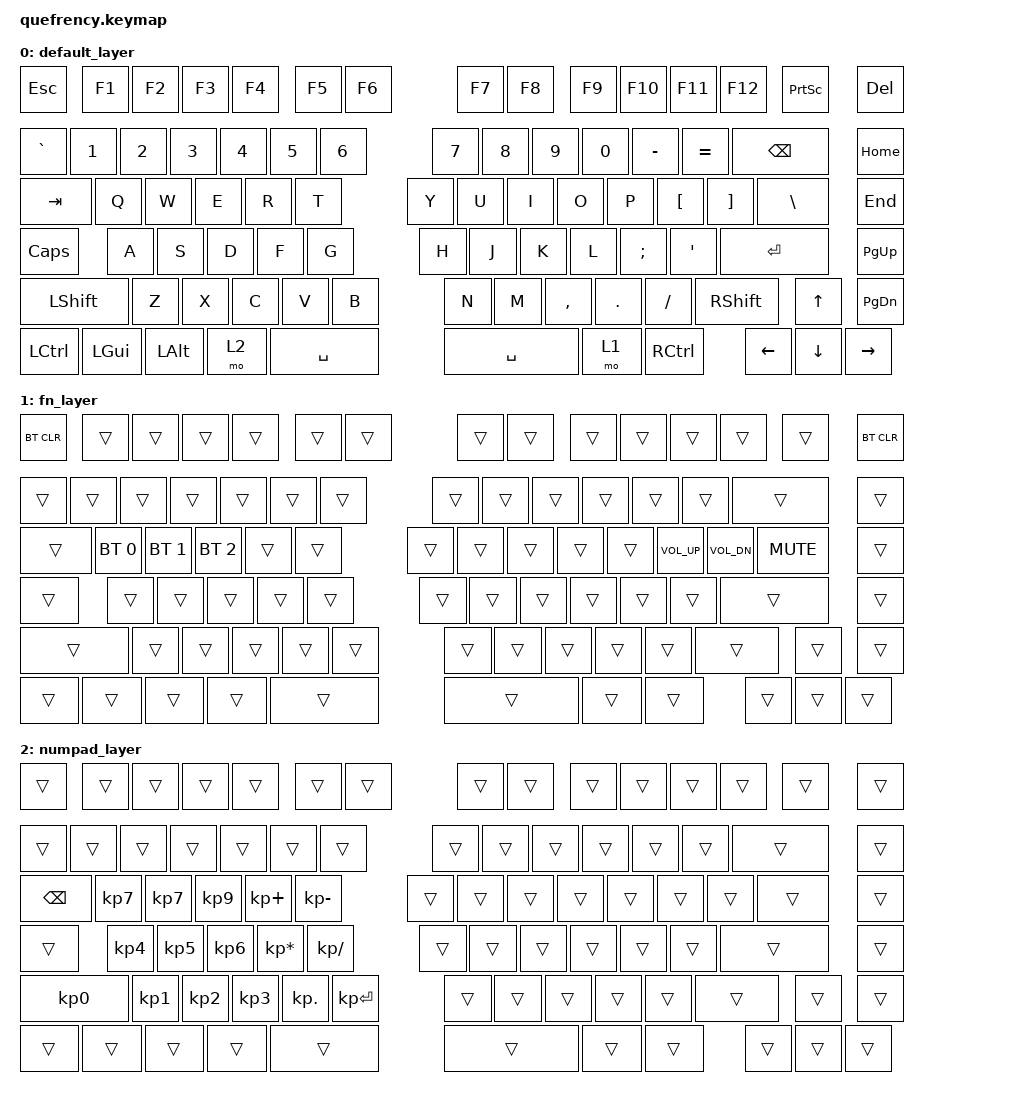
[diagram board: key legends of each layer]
#include <behaviors.dtsi>
#include <dt-bindings/zmk/bt.h>
#include <dt-bindings/zmk/keys.h>

/ {
    keymap {
        compatible = "zmk,keymap";

// --------------------------------------------------      ---------------------------------------------------------------
// |  ESC  |  F1  |  F2  |  F3  |  F4  |  F5  |  F6  |      |  F7  |  F8  |  F9  |  F10  |  F11  |  F12  |  F13  |  DEL  |
//
// |  `  |  1  |  2  |  3  |  4  |  5  |  6  |              |  7  |  8  |  9  |  0  |  -  |  =  |      BKSPC    |  HOME  |
// |  TAB  |  Q   |  W  |  E   |  R  |  T  |                |  Y  |  U  |  I  |  O  |  P  |  [  |  ]  |    \    |  END   |
// |  LCTRL  |  A  |  S  |  D  |  F  |  G  |                |  H  |  J  |  K  |  L  |  ;  |  '  |      ENTER    |  PGUP  |
// |  SHIFT  |  Z  |  X  |  C  |  V   |  B  |               |  N  |  M  |  ,  |  .  |  /  |  RSHFT  |     UP    |  PGDN  |
// |  LCTRL  |  LGUI  |  LALT  |  FN  |   SPACE   |         |    SPACE    |  FN  |  RCTRL  |    |  LFT  |  DWN  |  RGHT  |
// ------------------------------------------------         --------------------------------------------------------------

        default_layer {
            bindings = <
    &kp ESC     &kp F1     &kp F2     &kp F3   &kp F4   &kp F5   &kp F6  /**/  &kp F7   &kp F8   &kp F9      &kp F10   &kp F11     &kp F12     &kp PSCRN   &kp DEL
    &kp GRAVE   &kp N1     &kp N2     &kp N3   &kp N4   &kp N5   &kp N6  /**/  &kp N7   &kp N8   &kp N9      &kp N0    &kp MINUS   &kp EQUAL   &kp BSPC    &kp HOME
    &kp TAB     &kp Q      &kp W      &kp E    &kp R    &kp T            /**/  &kp Y    &kp U    &kp I       &kp O     &kp P       &kp LBKT    &kp RBKT    &kp BSLH    &kp END
    &kp CAPS    &kp A      &kp S      &kp D    &kp F    &kp G            /**/  &kp H    &kp J    &kp K       &kp L     &kp SEMI    &kp SQT     &kp ENTER   &kp PG_UP
    &kp LSHFT   &kp Z      &kp X      &kp C    &kp V    &kp B            /**/  &kp N    &kp M    &kp COMMA   &kp DOT   &kp FSLH    &kp RSHFT   &kp UP      &kp PG_DN
    &kp LCTRL   &kp LGUI   &kp LALT   &mo 2    &kp SPACE                 /**/  &kp SPACE   &mo 1   &kp RCTRL   &kp LEFT   &kp DOWN   &kp RIGHT
            >;
        };
// ----------------------------------------------------      ---------------------------------------------------------------
// | BT_CLR |      |      |      |      |      |      |      |      |      |      |       |       |       |       | BT_CLR |
//
// |        |      |      |      |      |      |           |      |      |      |      |      |      |      |      |       |
// |        | BT-0 | BT-1 | BT-2 |      |      |           |      |      |      |      |      |      |      |      |       |
// |        |      |      |      |      |      |           |      |      |      |      |      |      |      |      |
// |        |      |      |      |      |      |           |      |      |      |      |      |      |      |      |
// |        |      |      |      |      |                  |      |      |      |      |      |      |
// -------------------------------------------           ----------------------------------------------------------------

        fn_layer {
            bindings = <
    &bt BT_CLR   &trans         &trans         &trans         &trans   &trans   &trans  /**/  &trans   &trans   &trans   &trans   &trans   &trans         &trans         &bt BT_CLR
    &trans       &trans         &trans         &trans         &trans   &trans   &trans  /**/  &trans   &trans   &trans   &trans   &trans   &trans         &trans         &trans
    &trans       &bt BT_SEL 0   &bt BT_SEL 1   &bt BT_SEL 2   &trans   &trans           /**/  &trans   &trans   &trans   &trans   &trans   &kp C_VOL_UP   &kp C_VOL_DN   &kp C_MUTE       &trans
    &trans       &trans         &trans         &trans         &trans   &trans           /**/  &trans   &trans   &trans   &trans   &trans   &trans         &trans         &trans
    &trans       &trans         &trans         &trans         &trans   &trans           /**/  &trans   &trans   &trans   &trans   &trans   &trans         &trans         &trans
    &trans       &trans         &trans         &trans         &trans                    /**/  &trans   &trans   &trans   &trans   &trans   &trans
            >;
        };
// --------------------------------------------------       ----------------------------------------------------------------
// |      |      |      |      |      |      |      |       |      |      |      |      |      |      |      |      |
//
// |         |      |      |      |      |      |           |      |      |      |      |      |      |      |      |      |
// |  BKSPC  |   7  |   8  |   9  |   +  |   -  |           |      |      |      |      |      |      |      |      |      |
// |         |   4  |   5  |   6  |   *  |   /  |           |      |      |      |      |      |      |      |      |
// |    0    |   1  |   2  |   3  |   .  |  Enter  |        |      |      |      |      |      |      |      |      |
// |         |      |      |      |      |                  |      |      |      |      |      |      |
// -------------------------------------------------        ----------------------------------------------------------------

        numpad_layer {
            bindings = <
    &trans      &trans      &trans      &trans      &trans            &trans          &trans  /**/  &trans   &trans   &trans   &trans   &trans   &trans   &trans   &trans
    &trans      &trans      &trans      &trans      &trans            &trans          &trans  /**/  &trans   &trans   &trans   &trans   &trans   &trans   &trans   &trans
    &kp BSPC    &kp KP_N7   &kp KP_N7   &kp KP_N9   &kp KP_PLUS       &kp KP_MINUS            /**/  &trans   &trans   &trans   &trans   &trans   &trans   &trans   &trans   &trans
    &trans      &kp KP_N4   &kp KP_N5   &kp KP_N6   &kp KP_MULTIPLY   &kp KP_DIVIDE           /**/  &trans   &trans   &trans   &trans   &trans   &trans   &trans   &trans
    &kp KP_N0   &kp KP_N1   &kp KP_N2   &kp KP_N3   &kp KP_DOT        &kp KP_ENTER            /**/  &trans   &trans   &trans   &trans   &trans   &trans   &trans   &trans
    &trans      &trans      &trans      &trans      &trans                                    /**/  &trans   &trans   &trans   &trans   &trans   &trans
            >;
        };
    };
};
